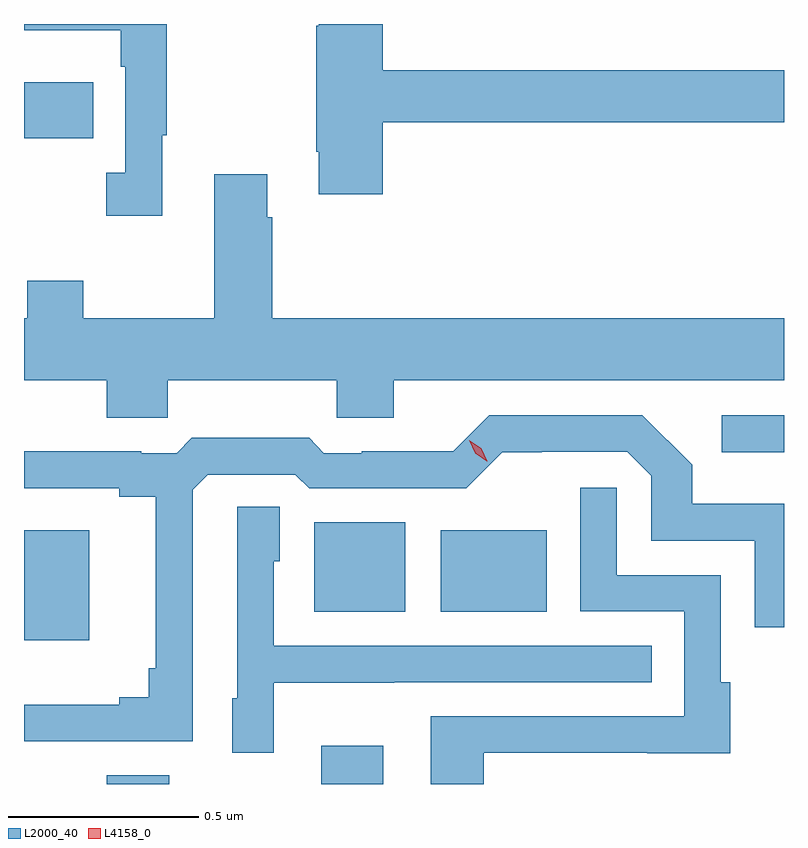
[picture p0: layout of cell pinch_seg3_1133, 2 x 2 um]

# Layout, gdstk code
import gdstk
lib = gdstk.Library(unit=1e-6, precision=1e-09)
def R(c, l, rs):  # rectangles x0, y0, x1, y1
    for r in rs: c.add(gdstk.rectangle(r[:2], r[2:], *l))
def P(c, l, *ps):  # polygons
    for p in ps: c.add(gdstk.Polygon(p, *l))
L2000_40 = (2000, 40)
L4158_0 = (4158, 0)

pinch_seg3_1133 = lib.new_cell('pinch_seg3_1133')
R(pinch_seg3_1133, L2000_40, [(378.113,675.878,378.277,675.901), (378.677,675.878,378.841,675.979), (377.895,676.256,378.067,676.546), (378.659,676.331,378.898,676.567), (378.992,676.331,379.27,676.546), (379.731,676.751,379.895,676.848), (377.895,677.578,378.077,677.725)])
P(pinch_seg3_1133, L2000_40, [(378.839,677.62),(379.895,677.62),(379.895,677.756),(378.839,677.756),(378.839,677.878),(378.671,677.878),(378.671,677.873),(378.664,677.873),(378.664,677.542),(378.671,677.542),(378.671,677.43),(378.839,677.43)],
  [(378.259,677.585),(378.271,677.585),(378.271,677.878),(377.895,677.878),(377.895,677.861),(378.15,677.861),(378.15,677.765),(378.162,677.765),(378.162,677.486),(378.111,677.486),(378.111,677.373),(378.259,677.373)],
  [(378.273,676.94),(378.718,676.94),(378.718,676.842),(378.868,676.842),(378.868,676.94),(379.895,676.94),(379.895,677.104),(378.548,677.104),(378.548,677.369),(378.535,677.369),(378.535,677.482),(378.395,677.482),(378.395,677.104),(378.051,677.104),(378.051,677.203),(377.903,677.203),(377.903,677.104),(377.895,677.104),(377.895,676.94),(378.113,676.94),(378.113,676.842),(378.273,676.842)],
  [(378.339,676.653),(378.378,676.692),(378.609,676.692),(378.645,676.656),(379.059,676.656),(379.154,676.751),(379.258,676.751),(379.258,676.752),(379.482,676.752),(379.545,676.689),(379.545,676.518),(379.818,676.518),(379.818,676.29),(379.895,676.29),(379.895,676.615),(379.653,676.615),(379.653,676.718),(379.522,676.848),(379.119,676.848),(379.025,676.754),(378.784,676.754),(378.784,676.749),(378.684,676.749),(378.645,676.789),(378.337,676.789),(378.297,676.749),(378.203,676.749),(378.203,676.754),(377.895,676.754),(377.895,676.656),(378.146,676.656),(378.146,676.634),(378.242,676.634),(378.242,676.183),(378.223,676.183),(378.223,676.106),(378.146,676.106),(378.146,676.087),(377.895,676.087),(377.895,675.99),(378.339,675.99)],
  [(379.105,675.96),(379.535,675.96),(379.535,675.959),(379.753,675.959),(379.753,676.146),(379.728,676.146),(379.728,676.428),(379.455,676.428),(379.455,676.657),(379.359,676.657),(379.359,676.332),(379.632,676.332),(379.632,676.056),(378.965,676.056),(378.965,675.878),(379.105,675.878)],
  [(378.552,676.145),(378.869,676.145),(378.869,676.146),(379.547,676.146),(379.547,676.242),(378.552,676.242),(378.552,676.464),(378.568,676.464),(378.568,676.607),(378.456,676.607),(378.456,676.104),(378.443,676.104),(378.443,675.96),(378.552,675.96)])
P(pinch_seg3_1133, L4158_0, [(379.113,676.727),(379.082,676.748),(379.067,676.782),(379.067,676.782),(379.067,676.782),(379.098,676.761),(379.114,676.727),(379.114,676.727)])

lib.write_gds('pinch_seg3_1133.gds')
